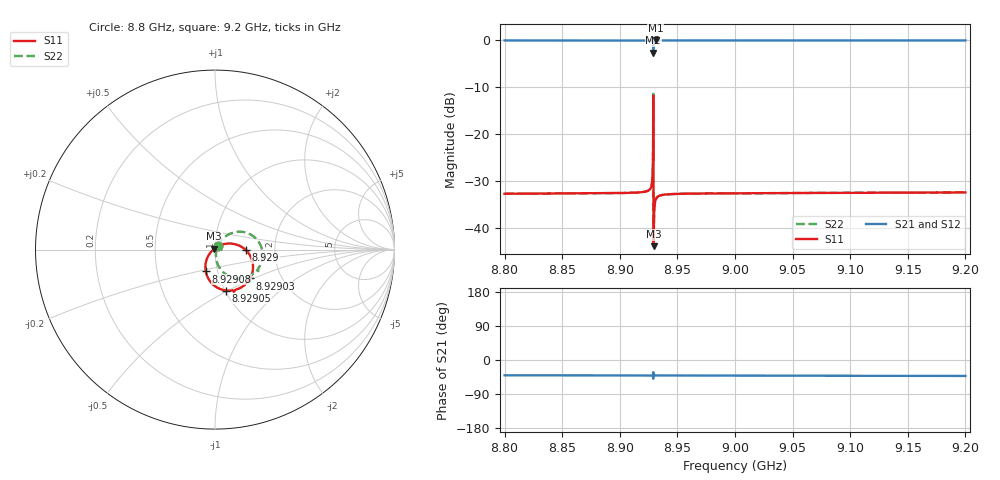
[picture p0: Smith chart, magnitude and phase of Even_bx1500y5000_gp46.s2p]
! Sonnet Data File
! From: emgraph Version : 16.52
! From Project: Resonator2
! Data is De-embedded
! Data File Written: 10/04/2017 18:31:03
!< HDATE 10/04/2017 15:54:54
!< MDATE 10/04/2017 15:55:28
!< PARAMS
!< gap = 46.0
!< Length = 400.0
!< END PARAMS
# GHZ S MA R 50.00000
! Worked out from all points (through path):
!   2194 points, 8.8 GHz to 9.2 GHz, reference 50 ohm
!   highest |S21| = 0.00 dB at 8.93106 GHz (marker M1); lowest = -2.6 dB at 8.92904 GHz (marker M2)
!   group delay of S21, straight-line fit = 12.4 ps
!   lowest |S11| = -43.9 dB at 8.92937 GHz (marker M3), VSWR 1.01, Z = 49.6 + j0.489 ohm
!   |S11| at or under -10 dB: start of sweep to end of sweep
!   |S22| runs from -40.9 to -11.4 dB; largest |S21 - S12| = 0
!   S11 on the Smith chart (normalised r, x): 8.8 GHz: 1.03, +0.04; 8.929 GHz: 1.42, -0.01; 8.92903 GHz: 1.39, -0.48; 8.92905 GHz: 1.01, -0.49; 8.92908 GHz: 0.88, -0.22; 9.2 GHz: 1.03, +0.04
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8.8  0.02304 49.6  0.9997 -40.3  0.9997 -40.3  0.02304 49.8
!< P1 F=8.8 Eeff=(6.44890994 -2.9739e-5) Z0=(51.8068348 1.19496e-4) R=0.0 C=0.0
!< P2 F=8.8 Eeff=(6.44890994 -2.9739e-5) Z0=(51.8068348 1.19496e-4) R=0.0 C=0.0
8.86675  0.02324 49.2  0.9997 -40.6  0.9997 -40.6  0.02324 49.6
8.926229  0.02581 46.9  0.9996 -41.0  0.9996 -41.0  0.02583 51.0
8.928498  0.03663 40.1  0.9988 -41.7  0.9988 -41.7  0.03685 54.9
8.928845  0.06019 30.9  0.9941 -43.0  0.9941 -43.0  0.06121 55.4
8.928939  0.09273 21.3  0.9812 -44.9  0.9812 -44.9  0.09508 51.2
8.929001  0.1733 -1.2  0.9128 -48.8  0.9128 -48.8  0.1792 33.7
8.929031  0.2529 -39.5  0.7606 -46.0  0.7606 -46.0  0.2636 -1.5
8.929039  0.2565 -54.9  0.7387 -41.1  0.7387 -41.1  0.2679 -16.0
8.92905  0.236 -75.0  0.7696 -34.9  0.7696 -34.9  0.2472 -34.9
8.92908  0.132 -113.0  0.9211 -33.0  0.9211 -33.0  0.1396 -68.8
8.929151  0.04409 -140.0  0.9863 -37.1  0.9863 -37.1  0.04831 -82.6
8.929251  0.01437 -165.0  0.9962 -38.8  0.9962 -38.8  0.01785 -69.7
8.929313  0.008 166.9  0.9978 -39.3  0.9978 -39.3  0.01144 -49.8
8.929372  0.006347 129.1  0.9985 -39.6  0.9985 -39.6  0.009259 -25.6
8.929881  0.01494 60.4  0.9997 -40.4  0.9997 -40.4  0.01517 37.5
8.931055  0.01973 52.8  0.9998 -40.7  0.9998 -40.7  0.01976 45.7
8.933336  0.02161 50.7  0.9998 -40.8  0.9998 -40.8  0.02161 47.7
9  0.02331 48.8  0.9997 -41.2  0.9997 -41.2  0.02331 48.8
9.06675  0.0235 48.5  0.9997 -41.5  0.9997 -41.5  0.0235 48.5
9.1335  0.02365 48.2  0.9997 -41.8  0.9997 -41.8  0.02365 48.2
9.2  0.0238 47.9  0.9997 -42.1  0.9997 -42.1  0.0238 48.0
